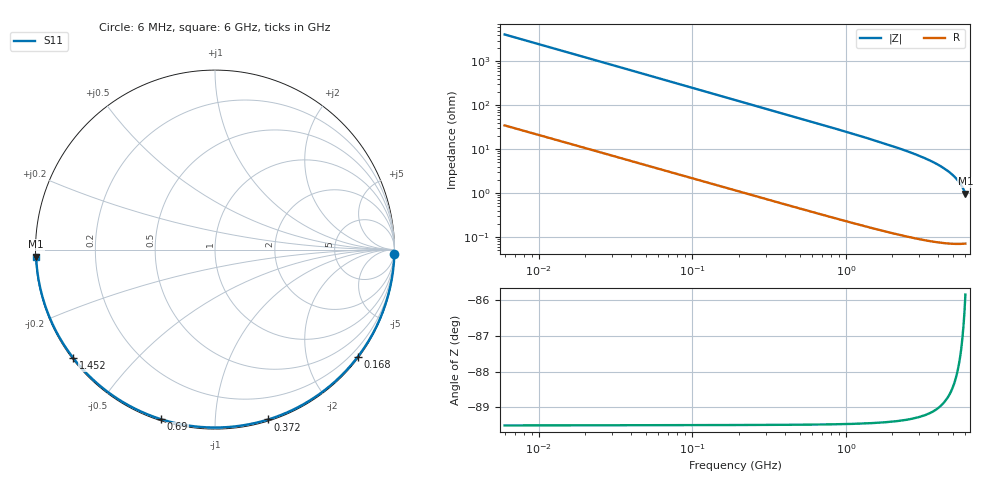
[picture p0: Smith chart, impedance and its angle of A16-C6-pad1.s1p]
! yapnr Order 0 O0-M: A16 port 1, 6 mm C-pad
! stackup OSHPARK-4L-FR408HR, nominal parameters; geometry of the OSHPARK-4L-FR408HR design
! model: 2D quasi-static RLGC (Djordjevic-Sarkar, Huray roughness, Wheeler loss); generated by python -m yapnr.rf.coupons expected --stackup OSHPARK-4L-FR408HR --upload M
! open-ended wide line + KJK open end; the line-to-pad step not modelled; 50 ohm
# GHz S DB R 50
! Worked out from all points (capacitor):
!   1000 points, 6 MHz to 6 GHz, reference 50 ohm
!   read as one part to ground: C = 6.34 pF near 36 MHz
!   lowest |Z| = 971 mohm at 6 GHz (marker M1)
!   S11 on the Smith chart (normalised r, x): 6 MHz: 1, -82; 168 MHz: 0.03, -3.01; 372 MHz: 0.01, -1.36; 690 MHz: 0.01, -0.73; 1.452 GHz: 0.00, -0.34; 6 GHz: 0.00, -0.02
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0.006  -0.00 -1.4
0.03  -0.01 -6.9
0.084  -0.02 -19.0
0.126  -0.04 -28.1
0.168  -0.05 -36.8
0.216  -0.05 -46.3
0.264  -0.06 -55.1
0.318  -0.07 -64.3
0.372  -0.07 -72.6
0.444  -0.08 -82.5
0.528  -0.08 -92.5
0.606  -0.08 -100.4
0.69  -0.07 -107.7
0.756  -0.07 -112.6
0.822  -0.07 -117.1
0.894  -0.07 -121.4
1.056  -0.06 -129.4
1.236  -0.06 -136.3
1.452  -0.05 -142.7
1.506  -0.05 -144.0
1.842  -0.04 -150.8
2.256  -0.04 -156.8
2.604  -0.03 -160.5
3.006  -0.03 -163.9
3.756  -0.03 -168.7
4.506  -0.02 -172.3
5.256  -0.02 -175.2
6  -0.02 -177.8
